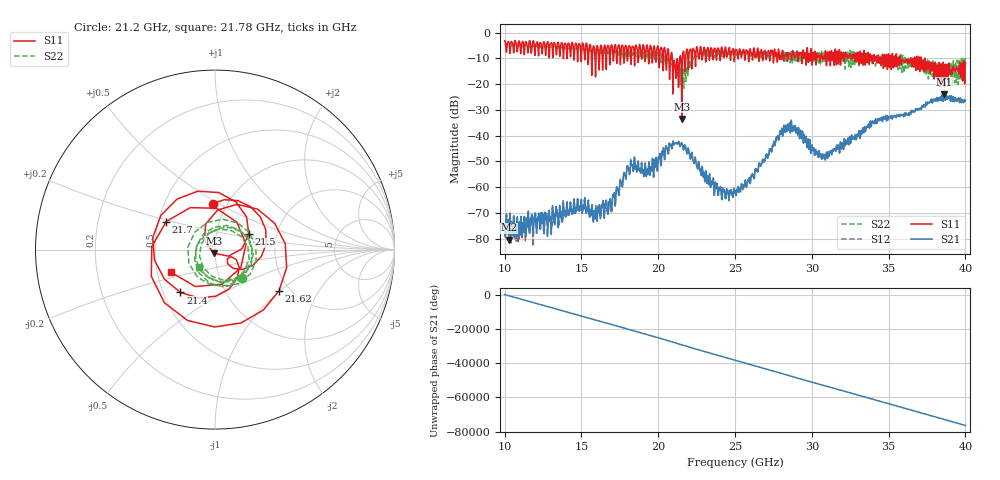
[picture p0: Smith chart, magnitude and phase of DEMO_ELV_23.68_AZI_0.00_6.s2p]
! 11/3/2026 12:48:52 PM
! C:\ANRITSUVNA\TEMP\TEMP.S2P
! CHANNEL.1
! TR.MEASUREMENT
! RAW.DATA
# HZ S RI R 50.0
! FREQ.HZ  S11RE  S11IM  S21RE  S21IM  S12RE  S12IM  S22RE  S22IM
!; PortSelection: Port_12
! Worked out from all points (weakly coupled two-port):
!   3001 points, 10 GHz to 40 GHz, reference 50 ohm
!   highest |S21| = -23.92 dB at 38.62 GHz (marker M1); lowest = -80.4 dB at 10.27 GHz (marker M2)
!   lowest |S11| = -33.5 dB at 21.53 GHz (marker M3), VSWR 1.04, Z = 49.3 - j1.96 ohm
!   |S11| at or under -10 dB: 20.91 GHz to 21.4 GHz (490.3 MHz wide, 2.32 % of centre); 35.78 GHz to 36.44 GHz (663.4 MHz wide, 1.84 % of centre); 37.37 GHz to end of sweep (the widest 3 of 115)
!   |S22| runs from -21.7 to -4.5 dB; largest |S21 - S12| = 0.079
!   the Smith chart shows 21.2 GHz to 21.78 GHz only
!   S11 on the Smith chart (normalised r, x): 21.2 GHz: 0.85, +0.47; 21.4 GHz: 0.61, -0.32; 21.5 GHz: 1.44, +0.26; 21.62 GHz: 1.76, -0.98; 21.7 GHz: 0.55, +0.19; 21.78 GHz: 0.59, -0.16
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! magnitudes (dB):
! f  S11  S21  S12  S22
! 10 GHz  -3.2  -74.3  -76.0  -4.7
! 10.27 GHz  -3.6  -80.4  -79.1  -4.6
! 15 GHz  -10.2  -65.0  -64.9  -6.5
! 16.84 GHz  -11.3  -65.5  -66.2  -7.1
! 18.11 GHz  -5.2  -54.0  -54.2  -8.2
! 20 GHz  -5.7  -49.1  -49.2  -7.8
! 21.2 GHz  -11.8  -43.0  -43.1  -13.2
! 21.4 GHz  -10.3  -43.9  -43.9  -20.1
! 21.5 GHz  -13.7  -42.9  -42.9  -17.0
! 21.53 GHz  -33.5  -42.8  -42.8  -19.3
! 21.62 GHz  -7.4  -45.2  -45.0  -15.0
! 21.7 GHz  -10.1  -44.0  -43.7  -14.9
! 21.78 GHz  -11.2  -44.4  -44.3  -17.4
! 22.69 GHz  -8.9  -52.8  -52.8  -8.0
! 24.02 GHz  -10.0  -61.4  -61.1  -9.1
! 25 GHz  -7.5  -62.2  -61.8  -8.3
! 28.3 GHz  -8.4  -36.1  -35.9  -8.8
! 30 GHz  -10.6  -43.6  -43.7  -8.0
! 30.77 GHz  -9.4  -48.6  -48.6  -8.4
! 35 GHz  -8.5  -33.4  -33.3  -11.0
! 38.62 GHz  -21.1  -23.9  -23.8  -16.7
! 40 GHz  -11.6  -26.5  -26.5  -12.3
